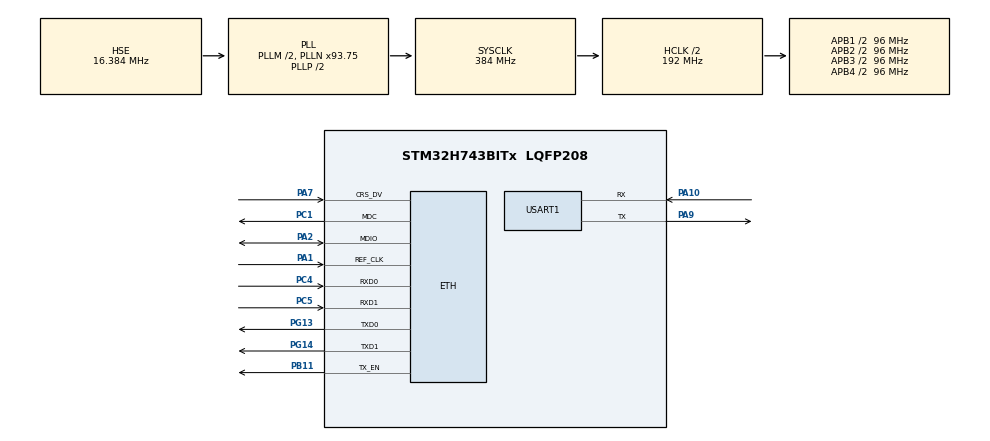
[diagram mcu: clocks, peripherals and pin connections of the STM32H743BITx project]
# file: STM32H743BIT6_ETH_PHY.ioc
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CORTEX_M7.AccessPermission_S-Cortex_Memory_Protection_Unit_Region1_Settings_S=MPU_REGION_FULL_ACCESS
CORTEX_M7.AccessPermission_S-Cortex_Memory_Protection_Unit_Region2_Settings_S=MPU_REGION_FULL_ACCESS
CORTEX_M7.AccessPermission_Spec=MPU_REGION_NO_ACCESS
CORTEX_M7.BaseAddress_S-Cortex_Memory_Protection_Unit_Region1_Settings_S=0x30020000
CORTEX_M7.BaseAddress_S-Cortex_Memory_Protection_Unit_Region2_Settings_S=0x30040000
CORTEX_M7.CPU_DCache=Enabled
CORTEX_M7.CPU_ICache=Enabled
CORTEX_M7.DisableExec_S-Cortex_Memory_Protection_Unit_Region1_Settings_S=MPU_INSTRUCTION_ACCESS_DISABLE
CORTEX_M7.DisableExec_S-Cortex_Memory_Protection_Unit_Region2_Settings_S=MPU_INSTRUCTION_ACCESS_DISABLE
CORTEX_M7.Enable_S-Cortex_Memory_Protection_Unit_Region1_Settings_S=MPU_REGION_ENABLE
CORTEX_M7.Enable_S-Cortex_Memory_Protection_Unit_Region2_Settings_S=MPU_REGION_ENABLE
CORTEX_M7.IsBufferable_S-Cortex_Memory_Protection_Unit_Region1_Settings_S=MPU_ACCESS_NOT_BUFFERABLE
CORTEX_M7.IsBufferable_S-Cortex_Memory_Protection_Unit_Region2_Settings_S=MPU_ACCESS_BUFFERABLE
CORTEX_M7.IsShareable_S-Cortex_Memory_Protection_Unit_Region1_Settings_S=MPU_ACCESS_NOT_SHAREABLE
CORTEX_M7.IsShareable_S-Cortex_Memory_Protection_Unit_Region2_Settings_S=MPU_ACCESS_SHAREABLE
CORTEX_M7.Size_S-Cortex_Memory_Protection_Unit_Region1_Settings_S=MPU_REGION_SIZE_128KB
CORTEX_M7.Size_S-Cortex_Memory_Protection_Unit_Region2_Settings_S=MPU_REGION_SIZE_512B
CORTEX_M7.TypeExtField_S-Cortex_Memory_Protection_Unit_Region1_Settings_S=MPU_TEX_LEVEL1
CORTEX_M7.default_mode_Activation=1
ETH.MediaInterface=HAL_ETH_RMII_MODE
ETH.RxBuffLen=1524
ETH.RxDescAddress=0x30040200
ETH.TxDescAddress=0x30000100
LWIP.BSP.number=1
LWIP.GATEWAY_ADDRESS=192.168.001.001
LWIP.IP_ADDRESS=192.168.001.003
LWIP.LWIP_DHCP=0
LWIP.LWIP_RAM_HEAP_POINTER=0x30020000
LWIP.MEM_SIZE=16360
LWIP.NETMASK_ADDRESS=255.255.255.000
LWIP.Version=v2.1.2_Cube
LWIP0.BSP.STBoard=false
LWIP0.BSP.api=BSP_COMPONENT_DRIVER
LWIP0.BSP.component=LAN8742
LWIP0.BSP.instance=LAN8742
LWIP0.BSP.name=Driver_PHY
LWIP0.BSP.semaphore=S_LAN8742
LWIP0.BSP.solution=LAN8742
Mcu.Family=STM32H7
Mcu.Name=STM32H743BITx
Mcu.Package=LQFP208
NVIC.PriorityGroup=NVIC_PRIORITYGROUP_4
NVIC.TIM6_DAC_IRQn=true\:15\:0\:false\:false\:true\:false\:true\:true
NVIC.TimeBase=TIM6_DAC_IRQn
NVIC.TimeBaseIP=TIM6
NVIC.USART1_IRQn=true\:0\:0\:false\:false\:true\:true\:true\:true
PA1.GPIO_Speed=GPIO_SPEED_FREQ_VERY_HIGH
PA1.Mode=RMII
PA1.Signal=ETH_REF_CLK
PA10.Mode=Asynchronous
PA10.Signal=USART1_RX
PA2.GPIO_Speed=GPIO_SPEED_FREQ_VERY_HIGH
PA2.Mode=RMII
PA2.Signal=ETH_MDIO
PA7.GPIO_Speed=GPIO_SPEED_FREQ_VERY_HIGH
PA7.Mode=RMII
PA7.Signal=ETH_CRS_DV
PA9.Mode=Asynchronous
PA9.Signal=USART1_TX
PB11.GPIO_Speed=GPIO_SPEED_FREQ_VERY_HIGH
PB11.Mode=RMII
PB11.Signal=ETH_TX_EN
PC1.GPIO_Speed=GPIO_SPEED_FREQ_VERY_HIGH
PC1.Mode=RMII
PC1.Signal=ETH_MDC
PC4.GPIO_Speed=GPIO_SPEED_FREQ_VERY_HIGH
PC4.Mode=RMII
PC4.Signal=ETH_RXD0
PC5.GPIO_Speed=GPIO_SPEED_FREQ_VERY_HIGH
PC5.Mode=RMII
PC5.Signal=ETH_RXD1
PG13.GPIO_Speed=GPIO_SPEED_FREQ_VERY_HIGH
PG13.Mode=RMII
PG13.Signal=ETH_TXD0
PG14.GPIO_Speed=GPIO_SPEED_FREQ_VERY_HIGH
PG14.Mode=RMII
PG14.Signal=ETH_TXD1
PH0-OSC_IN\ (PH0).Mode=HSE-External-Oscillator
PH0-OSC_IN\ (PH0).Signal=RCC_OSC_IN
PH1-OSC_OUT\ (PH1).Mode=HSE-External-Oscillator
PH1-OSC_OUT\ (PH1).Signal=RCC_OSC_OUT
ProjectManager.HeapSize=0x200
ProjectManager.StackSize=0x400
ProjectManager.TargetToolchain=STM32CubeIDE
RCC.ADCFreq_Value=190464000
RCC.APB1Freq_Value=96000000
RCC.APB2Freq_Value=96000000
RCC.APB3Freq_Value=96000000
RCC.APB4Freq_Value=96000000
RCC.CortexFreq_Value=384000000
RCC.D1PPRE=RCC_APB3_DIV2
RCC.D2PPRE1=RCC_APB1_DIV2
RCC.D2PPRE2=RCC_APB2_DIV2
RCC.D3PPRE=RCC_APB4_DIV2
RCC.DIVM1=2
RCC.DIVM2=16
RCC.DIVN1=93
RCC.DIVN2=372
RCC.DIVQ2=8
RCC.HCLKFreq_Value=192000000
RCC.HPRE=RCC_HCLK_DIV2
RCC.HSE_VALUE=16384000
RCC.PLLFRACN=6144
RCC.PLLSourceVirtual=RCC_PLLSOURCE_HSE
RCC.RCC_MCO1Source=RCC_MCO1SOURCE_HSE
RCC.SYSCLKFreq_VALUE=384000000
RCC.SYSCLKSource=RCC_SYSCLKSOURCE_PLLCLK
RCC.USART16CLockSelection=RCC_USART16CLKSOURCE_PLL2
RCC.USBFreq_Value=384000000
USART1.VirtualMode-Asynchronous=VM_ASYNC
VP_LWIP_VS_Enabled.Mode=Enabled
VP_MEMORYMAP_VS_MEMORYMAP.Mode=CurAppReg
VP_SYS_VS_tim6.Mode=TIM6
board=custom

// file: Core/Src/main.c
/* USER CODE BEGIN Header */
/**
  ******************************************************************************
  * @file           : main.c
  * @brief          : Main program body
  ******************************************************************************
  * @attention
  *
  * Copyright (c) 2024 STMicroelectronics.
  * All rights reserved.
  *
  * This software is licensed under terms that can be found in the LICENSE file
  * in the root directory of this software component.
  * If no LICENSE file comes with this software, it is provided AS-IS.
  *
  ******************************************************************************
  */
/* USER CODE END Header */
#include "main.h"
#include "lwip.h"

/* USER CODE BEGIN Includes */
#include <stdio.h>

#include <stm32h7xx_hal.h>
/* USER CODE END Includes */

/* USER CODE BEGIN PD */
#define DP83848_PHY_ADDRESS 0x01

#define PHY_BCR         		0x00  // Basic Control Register address
#define PHY_RESET       		0x8000 // Reset bit in BCR (bit 15)
#define PHY_BCR                  0x00  // Basic Control Register address
#define PHY_AUTONEGOTIATION      0x1000 // Auto-Negotiation enable bit (bit 12)
/* USER CODE END PD */

UART_HandleTypeDef huart1;

void SystemClock_Config(void);
static void MPU_Config(void);
static void MX_GPIO_Init(void);
static void MX_USART1_UART_Init(void);

/* USER CODE BEGIN 0 */
extern struct netif gnetif;
/* USER CODE END 0 */

int main(void)
{

  /* MPU Configuration--------------------------------------------------------*/
  MPU_Config();

  /* Enable the CPU Cache */

  /* Enable I-Cache---------------------------------------------------------*/
  SCB_EnableICache();

  /* Enable D-Cache---------------------------------------------------------*/
  SCB_EnableDCache();

  /* MCU Configuration--------------------------------------------------------*/

  /* Reset of all peripherals, Initializes the Flash interface and the Systick. */
  HAL_Init();

  /* USER CODE BEGIN Init */
  HAL_Delay(3500);
  /* USER CODE END Init */

  /* Configure the system clock */
  SystemClock_Config();

  /* Initialize all configured peripherals */
  MX_GPIO_Init();
  MX_USART1_UART_Init();
  MX_LWIP_Init();
  /* USER CODE BEGIN 2 */
  tcp_server_init();
  /* USER CODE END 2 */

  /* Infinite loop */
  /* USER CODE BEGIN WHILE */
  while (1)
  {
//	  ethernetif_input(&gnetif);
//	  sys_check_timeouts();
//
//	  printf("Hello World \n\r");
//	  HAL_Delay(500);
	  MX_LWIP_Process();
	  HAL_Delay(2);
    /* USER CODE END WHILE */

  }
}

void SystemClock_Config(void)
{
  RCC_OscInitTypeDef RCC_OscInitStruct = {0};
  RCC_ClkInitTypeDef RCC_ClkInitStruct = {0};

  /** Supply configuration update enable
  */
  HAL_PWREx_ConfigSupply(PWR_LDO_SUPPLY);

  /** Configure the main internal regulator output voltage
  */
  __HAL_PWR_VOLTAGESCALING_CONFIG(PWR_REGULATOR_VOLTAGE_SCALE1);

  while(!__HAL_PWR_GET_FLAG(PWR_FLAG_VOSRDY)) {}

  /** Initializes the RCC Oscillators according to the specified parameters
  * in the RCC_OscInitTypeDef structure.
  */
  RCC_OscInitStruct.OscillatorType = RCC_OSCILLATORTYPE_HSE;
  RCC_OscInitStruct.HSEState = RCC_HSE_ON;
  RCC_OscInitStruct.PLL.PLLState = RCC_PLL_ON;
  RCC_OscInitStruct.PLL.PLLSource = RCC_PLLSOURCE_HSE;
  RCC_OscInitStruct.PLL.PLLM = 2;
  RCC_OscInitStruct.PLL.PLLN = 93;
  RCC_OscInitStruct.PLL.PLLP = 2;
  RCC_OscInitStruct.PLL.PLLQ = 2;
  RCC_OscInitStruct.PLL.PLLR = 2;
  RCC_OscInitStruct.PLL.PLLRGE = RCC_PLL1VCIRANGE_3;
  RCC_OscInitStruct.PLL.PLLVCOSEL = RCC_PLL1VCOWIDE;
  RCC_OscInitStruct.PLL.PLLFRACN = 6144;
  if (HAL_RCC_OscConfig(&RCC_OscInitStruct) != HAL_OK)
  {
    Error_Handler();
  }

  /** Initializes the CPU, AHB and APB buses clocks
  */
  RCC_ClkInitStruct.ClockType = RCC_CLOCKTYPE_HCLK|RCC_CLOCKTYPE_SYSCLK
                              |RCC_CLOCKTYPE_PCLK1|RCC_CLOCKTYPE_PCLK2
                              |RCC_CLOCKTYPE_D3PCLK1|RCC_CLOCKTYPE_D1PCLK1;
  RCC_ClkInitStruct.SYSCLKSource = RCC_SYSCLKSOURCE_PLLCLK;
  RCC_ClkInitStruct.SYSCLKDivider = RCC_SYSCLK_DIV1;
  RCC_ClkInitStruct.AHBCLKDivider = RCC_HCLK_DIV2;
  RCC_ClkInitStruct.APB3CLKDivider = RCC_APB3_DIV2;
  RCC_ClkInitStruct.APB1CLKDivider = RCC_APB1_DIV2;
  RCC_ClkInitStruct.APB2CLKDivider = RCC_APB2_DIV2;
  RCC_ClkInitStruct.APB4CLKDivider = RCC_APB4_DIV2;

  if (HAL_RCC_ClockConfig(&RCC_ClkInitStruct, FLASH_LATENCY_2) != HAL_OK)
  {
    Error_Handler();
  }
}

static void MX_USART1_UART_Init(void)
{

  huart1.Instance = USART1;
  huart1.Init.BaudRate = 115200;
  huart1.Init.WordLength = UART_WORDLENGTH_8B;
  huart1.Init.StopBits = UART_STOPBITS_1;
  huart1.Init.Parity = UART_PARITY_NONE;
  huart1.Init.Mode = UART_MODE_TX_RX;
  huart1.Init.HwFlowCtl = UART_HWCONTROL_NONE;
  huart1.Init.OverSampling = UART_OVERSAMPLING_16;
  huart1.Init.OneBitSampling = UART_ONE_BIT_SAMPLE_DISABLE;
  huart1.Init.ClockPrescaler = UART_PRESCALER_DIV1;
  huart1.AdvancedInit.AdvFeatureInit = UART_ADVFEATURE_NO_INIT;
  if (HAL_UART_Init(&huart1) != HAL_OK)
  {
    Error_Handler();
  }
  if (HAL_UARTEx_SetTxFifoThreshold(&huart1, UART_TXFIFO_THRESHOLD_1_8) != HAL_OK)
  {
    Error_Handler();
  }
  if (HAL_UARTEx_SetRxFifoThreshold(&huart1, UART_RXFIFO_THRESHOLD_1_8) != HAL_OK)
  {
    Error_Handler();
  }
  if (HAL_UARTEx_DisableFifoMode(&huart1) != HAL_OK)
  {
    Error_Handler();
  }

}

static void MX_GPIO_Init(void)
{

  /* GPIO Ports Clock Enable */
  __HAL_RCC_GPIOH_CLK_ENABLE();
  __HAL_RCC_GPIOC_CLK_ENABLE();
  __HAL_RCC_GPIOA_CLK_ENABLE();
  __HAL_RCC_GPIOB_CLK_ENABLE();
  __HAL_RCC_GPIOG_CLK_ENABLE();

}

/* USER CODE BEGIN 4 */
int _write(int file, char *ptr, int len) {
    // Send data via UART (for example, using UART1)
    HAL_UART_Transmit(&huart1, (uint8_t*)ptr, len, HAL_MAX_DELAY);
    return len;
}

//int32_t ETH_PHY_Init(ETH_HandleTypeDef *heth) {
//    uint32_t regval = 0;
//
//    // Reset PHY
//    HAL_ETH_WritePHYRegister(heth, DP83848_PHY_ADDRESS, PHY_BCR, PHY_RESET);
//    HAL_Delay(50);
//
//    // Check if reset is complete
//    HAL_ETH_ReadPHYRegister(heth, DP83848_PHY_ADDRESS, PHY_BCR, &regval);
//    if (regval & PHY_RESET) {
//        return HAL_TIMEOUT;
//    }
//
//    // Configure the PHY (autonegotiation, etc.)
//    HAL_ETH_WritePHYRegister(heth, DP83848_PHY_ADDRESS, PHY_BCR, PHY_AUTONEGOTIATION);
//
//    // Wait for autonegotiation to complete
//    HAL_ETH_ReadPHYRegister(heth, DP83848_PHY_ADDRESS, PHY_BSR, &regval);
//    if (!(regval & PHY_AUTONEGO_COMPLETE)) {
//        return HAL_TIMEOUT;
//    }
//
//    // Additional PHY-specific settings can be added here
//
//    return HAL_OK;
//}

/* USER CODE END 4 */

 /* MPU Configuration */

void MPU_Config(void)
{
  MPU_Region_InitTypeDef MPU_InitStruct = {0};

  /* Disables the MPU */
  HAL_MPU_Disable();

  /** Initializes and configures the Region and the memory to be protected
  */
  MPU_InitStruct.Enable = MPU_REGION_ENABLE;
  MPU_InitStruct.Number = MPU_REGION_NUMBER0;
  MPU_InitStruct.BaseAddress = 0x0;
  MPU_InitStruct.Size = MPU_REGION_SIZE_4GB;
  MPU_InitStruct.SubRegionDisable = 0x87;
  MPU_InitStruct.TypeExtField = MPU_TEX_LEVEL0;
  MPU_InitStruct.AccessPermission = MPU_REGION_NO_ACCESS;
  MPU_InitStruct.DisableExec = MPU_INSTRUCTION_ACCESS_DISABLE;
  MPU_InitStruct.IsShareable = MPU_ACCESS_SHAREABLE;
  MPU_InitStruct.IsCacheable = MPU_ACCESS_NOT_CACHEABLE;
  MPU_InitStruct.IsBufferable = MPU_ACCESS_NOT_BUFFERABLE;

  HAL_MPU_ConfigRegion(&MPU_InitStruct);

  /** Initializes and configures the Region and the memory to be protected
  */
  MPU_InitStruct.Number = MPU_REGION_NUMBER1;
  MPU_InitStruct.BaseAddress = 0x30020000;
  MPU_InitStruct.Size = MPU_REGION_SIZE_128KB;
  MPU_InitStruct.SubRegionDisable = 0x0;
  MPU_InitStruct.TypeExtField = MPU_TEX_LEVEL1;
  MPU_InitStruct.AccessPermission = MPU_REGION_FULL_ACCESS;
  MPU_InitStruct.IsShareable = MPU_ACCESS_NOT_SHAREABLE;

  HAL_MPU_ConfigRegion(&MPU_InitStruct);

  /** Initializes and configures the Region and the memory to be protected
  */
  MPU_InitStruct.Number = MPU_REGION_NUMBER2;
  MPU_InitStruct.BaseAddress = 0x30040000;
  MPU_InitStruct.Size = MPU_REGION_SIZE_512B;
  MPU_InitStruct.TypeExtField = MPU_TEX_LEVEL0;
  MPU_InitStruct.IsShareable = MPU_ACCESS_SHAREABLE;
  MPU_InitStruct.IsBufferable = MPU_ACCESS_BUFFERABLE;

  HAL_MPU_ConfigRegion(&MPU_InitStruct);
  /* Enables the MPU */
  HAL_MPU_Enable(MPU_PRIVILEGED_DEFAULT);

}

void HAL_TIM_PeriodElapsedCallback(TIM_HandleTypeDef *htim)
{
  if (htim->Instance == TIM6) {
    HAL_IncTick();
  }
}

void Error_Handler(void)
{
  __disable_irq();
  while (1)
  {
  }
}
